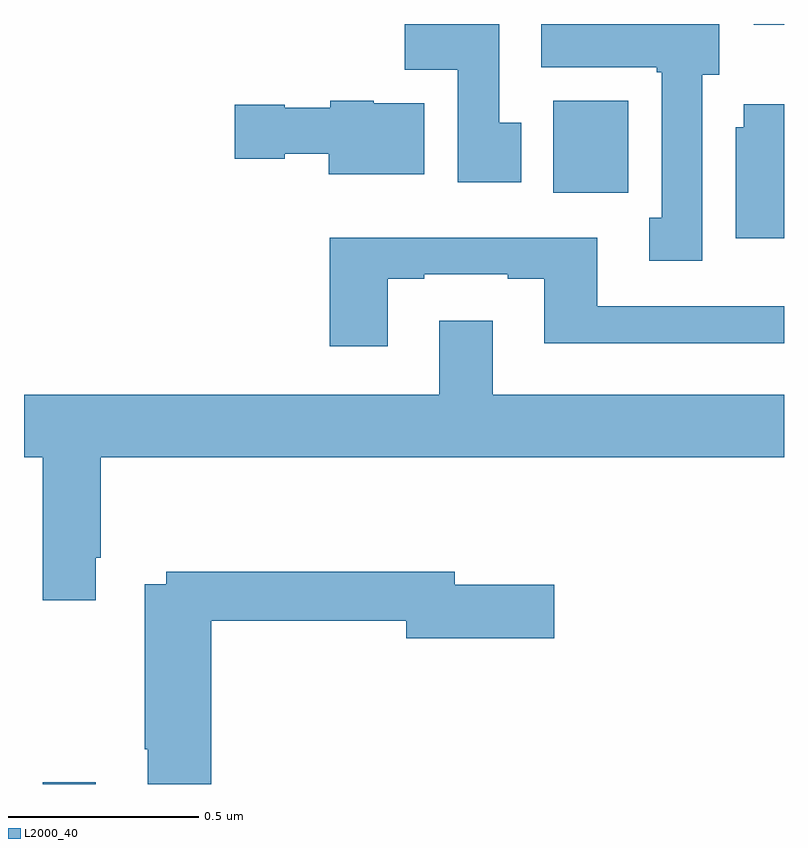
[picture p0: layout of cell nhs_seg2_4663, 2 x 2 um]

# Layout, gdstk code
import gdstk
lib = gdstk.Library(unit=1e-6, precision=1e-09)
def R(c, l, rs):  # rectangles x0, y0, x1, y1
    for r in rs: c.add(gdstk.rectangle(r[:2], r[2:], *l))
def P(c, l, *ps):  # polygons
    for p in ps: c.add(gdstk.Polygon(p, *l))
L2000_40 = (2000, 40)

nhs_seg2_4663 = lib.new_cell('nhs_seg2_4663')
R(nhs_seg2_4663, L2000_40, [(169.049,622.8,169.189,622.804), (170.393,624.356,170.59,624.598), (170.921,624.798,171,624.8)])
P(nhs_seg2_4663, L2000_40, [(170.785,624.666),(170.83,624.666),(170.83,624.8),(170.361,624.8),(170.361,624.686),(170.665,624.686),(170.665,624.673),(170.678,624.673),(170.678,624.29),(170.645,624.29),(170.645,624.177),(170.785,624.177)],
  [(170.308,624.54),(170.251,624.54),(170.251,624.799),(170.002,624.799),(170.002,624.68),(170.141,624.68),(170.141,624.384),(170.308,624.384)],
  [(170.053,624.592),(169.92,624.592),(169.92,624.598),(169.806,624.598),(169.806,624.58),(169.686,624.58),(169.686,624.588),(169.554,624.588),(169.554,624.446),(169.686,624.446),(169.686,624.458),(169.802,624.458),(169.802,624.404),(170.053,624.404)],
  [(171,624.589),(170.894,624.589),(170.894,624.528),(170.873,624.528),(170.873,624.236),(171,624.236)],
  [(169.957,624.129),(170.053,624.129),(170.053,624.141),(170.273,624.141),(170.273,624.129),(170.369,624.129),(170.369,623.96),(171,623.96),(171,624.057),(170.509,624.057),(170.509,624.238),(169.805,624.238),(169.805,623.952),(169.957,623.952)],
  [(169.189,623.395),(169.202,623.395),(169.202,623.66),(171,623.66),(171,623.824),(170.233,623.824),(170.233,624.019),(170.093,624.019),(170.093,623.824),(169,623.824),(169,623.66),(169.049,623.66),(169.049,623.283),(169.189,623.283)],
  [(169.493,623.23),(170.006,623.23),(170.006,623.183),(170.395,623.183),(170.395,623.325),(170.134,623.325),(170.134,623.359),(169.374,623.359),(169.374,623.326),(169.318,623.326),(169.318,622.891),(169.325,622.891),(169.325,622.8),(169.493,622.8)])

lib.write_gds('nhs_seg2_4663.gds')
